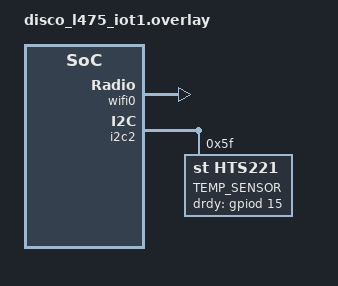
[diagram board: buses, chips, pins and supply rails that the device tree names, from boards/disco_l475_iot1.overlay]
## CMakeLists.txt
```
cmake_minimum_required(VERSION 3.20.0)
find_package(Zephyr REQUIRED HINTS $ENV{ZEPHYR_BASE})
project(sensor_mqtt)
target_sources(app PRIVATE src/main.c)
```

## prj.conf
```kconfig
# --- Networking & Wi-Fi ---
CONFIG_NETWORKING=y
CONFIG_WIFI=y
CONFIG_WIFI_ESWIFI=y               # ISM43362 driver for Disco L475 
CONFIG_NET_L2_WIFI_MGMT=y
CONFIG_NET_IPV4=y
CONFIG_NET_CONFIG_SETTINGS=y
CONFIG_POSIX_API=y
CONFIG_NET_LOG=y
CONFIG_WIFI_ESWIFI_THREAD_PRIO=7
CONFIG_NET_SOCKETS_POLL_MAX=1
CONFIG_NET_TCP_RECV_QUEUE_TIMEOUT=100

CONFIG_NET_SOCKETS=y
CONFIG_NET_TCP=y
CONFIG_NET_CONTEXT_SYNC_RECV=y


# --- Utilities ---
CONFIG_NEWLIB_LIBC=y
CONFIG_LOG=y
CONFIG_PRINTK=y
CONFIG_THREAD_MONITOR=y

# eswifi specific configs
CONFIG_WIFI_ESWIFI_BUS_SPI=y
CONFIG_NET_TX_STACK_SIZE=2048
CONFIG_NET_RX_STACK_SIZE=2048
CONFIG_WIFI_ESWIFI_THREAD_PRIO=5
CONFIG_MAIN_STACK_SIZE=4096
CONFIG_SYSTEM_WORKQUEUE_STACK_SIZE=4096

# Network buffers
CONFIG_NET_PKT_RX_COUNT=20
CONFIG_NET_PKT_TX_COUNT=10
CONFIG_NET_BUF_RX_COUNT=40
CONFIG_NET_BUF_TX_COUNT=20
CONFIG_NET_MGMT_EVENT_STACK_SIZE=1024
CONFIG_NET_SOCKETS_CONNECT_TIMEOUT=30000
CONFIG_NET_TCP_TIME_WAIT_DELAY=3000

CONFIG_JSON_LIBRARY=y
```

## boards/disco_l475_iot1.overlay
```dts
&wifi0 {
    status = "okay";
};


&i2c2 {
    hts221: hts221@5f {
        compatible = "st,hts221";
        reg = <0x5f>;
        drdy-gpios = <&gpiod 15 GPIO_ACTIVE_HIGH>;
        status = "okay";
        label = "TEMP_SENSOR";
    };
};

/ {
    aliases {
        temp = &hts221;
        humid = &hts221;
    };
};
```

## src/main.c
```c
#include <zephyr/kernel.h>
#include <zephyr/net/mqtt.h>
#include <zephyr/net/socket.h>
#include <zephyr/drivers/sensor.h>
#include <zephyr/net/wifi_mgmt.h>
#include <zephyr/net/net_mgmt.h>
#include <zephyr/net/net_if.h>
#include <zephyr/random/random.h>
#include <zephyr/logging/log.h>
#include <zephyr/posix/sys/socket.h>
#include <string.h>
#include <stdio.h>
#include <errno.h>
LOG_MODULE_REGISTER(main, LOG_LEVEL_INF);

/* ====== EDIT THESE BEFORE BUILD ====== */
#define WIFI_SSID   "ss Wireless"
#define WIFI_PASS   "Vivian1123"
#define BROKER_ADDR "192.168.0.253"
#define BROKER_PORT 1883
/* ==================================== */

static struct mqtt_client client;
static uint8_t rx_buf[2048], tx_buf[2048];
static struct sockaddr_storage broker;

static struct k_sem wifi_scan_done;
static struct k_sem wifi_connect_done;

// MQTT connection status
static bool connected = false;
static int64_t connection_time = 0;

// MQTT event callback handler
static void mqtt_evt_handler(struct mqtt_client *client, const struct mqtt_evt *evt)
{
    switch (evt->type) {
    case MQTT_EVT_CONNACK:
        if (evt->result != 0) {
            LOG_ERR("MQTT connect failed %d", evt->result);
            break;
        }
        connected = true;
        connection_time = k_uptime_get();  // Record connection time
        LOG_INF("MQTT client connected!");
        LOG_INF("Socket fd: %d", client->transport.tcp.sock);
        break;
        
    case MQTT_EVT_DISCONNECT:
        LOG_INF("MQTT client disconnected %d", evt->result);
        LOG_INF("Disconnect - Socket fd: %d", client->transport.tcp.sock);
        connected = false;
        break;
        
    case MQTT_EVT_PUBACK:
        if (evt->result != 0) {
            LOG_ERR("MQTT PUBACK error %d", evt->result);
            break;
        }
        LOG_INF("PUBACK packet id: %u", evt->param.puback.message_id);
        break;
        
    default:
        LOG_DBG("MQTT event type %d", evt->type);
        break;
    }
}

static void net_mgmt_event_handler(struct net_mgmt_event_callback *cb,
                                   uint32_t mgmt_event, struct net_if *iface)
{
    if (mgmt_event == NET_EVENT_WIFI_SCAN_RESULT) {
        const struct wifi_scan_result *scan_result = (const struct wifi_scan_result *)cb->info;
        if (scan_result && scan_result->ssid_length > 0) {
            LOG_INF("Found SSID: %.*s, Strength: %d dBm, Security: %s (%d), Channel: %d",
                    scan_result->ssid_length, scan_result->ssid,
                    scan_result->rssi,
                    scan_result->security == WIFI_SECURITY_TYPE_PSK ? "WPA/WPA2" :
                    scan_result->security == WIFI_SECURITY_TYPE_NONE ? "Open" :
                    "Other", scan_result->security, scan_result->channel);
        }
    } else if (mgmt_event == NET_EVENT_WIFI_SCAN_DONE) {
        LOG_INF("WiFi scan completed!");
        k_sem_give(&wifi_scan_done);
    } else if (mgmt_event == NET_EVENT_WIFI_CONNECT_RESULT) {
        const struct wifi_status *status = (const struct wifi_status *)cb->info;
        if (status && status->status == 0) {
            LOG_INF("WiFi connected (status OK)");
        } else {
            LOG_ERR("WiFi connection failed (status %d)", status ? status->status : -1);
        }
        k_sem_give(&wifi_connect_done);
    } else if (mgmt_event == NET_EVENT_WIFI_DISCONNECT_RESULT) {
        LOG_INF("WiFi disconnected");
    }
}

static struct net_mgmt_event_callback net_cb;

static int wifi_scan(void)
{
    struct net_if *iface = net_if_get_default();
    
    if (!iface) {
        LOG_ERR("No network interface found");
        return -ENODEV;
    }

    k_sem_init(&wifi_scan_done, 0, 1);

    net_mgmt_init_event_callback(&net_cb, net_mgmt_event_handler,
                                 NET_EVENT_WIFI_SCAN_RESULT |
                                 NET_EVENT_WIFI_SCAN_DONE |
                                 NET_EVENT_WIFI_CONNECT_RESULT |
                                 NET_EVENT_WIFI_DISCONNECT_RESULT);
    net_mgmt_add_event_callback(&net_cb);

    LOG_INF("Starting WiFi scan...");
    int rc = net_mgmt(NET_REQUEST_WIFI_SCAN, iface, NULL, 0);
    if (rc) {
        LOG_ERR("Wi-Fi scan request failed (%d)", rc);
        return rc;
    }

    if (k_sem_take(&wifi_scan_done, K_SECONDS(30)) != 0) {
        LOG_ERR("WiFi scan timeout");
        return -ETIMEDOUT;
    }

    LOG_INF("WiFi scan finished.");
    return 0;
}

static int wifi_connect(void)
{
    struct net_if *iface = net_if_get_default();
    if (!iface) {
        LOG_ERR("No network interface found");
        return -ENODEV;
    }

    struct wifi_connect_req_params params = {
        .ssid = WIFI_SSID,
        .ssid_length = strlen(WIFI_SSID),
        .psk = WIFI_PASS,
        .psk_length = strlen(WIFI_PASS),
        .security = WIFI_SECURITY_TYPE_PSK,
        .channel = WIFI_CHANNEL_ANY,
    };

    k_sem_init(&wifi_connect_done, 0, 1);
    LOG_INF("Connecting to WiFi SSID: %s", WIFI_SSID);
    int rc = net_mgmt(NET_REQUEST_WIFI_CONNECT, iface, &params, sizeof(params));
    if (rc) {
        LOG_ERR("WiFi connect request failed (%d)", rc);
        return rc;
    }

    if (k_sem_take(&wifi_connect_done, K_SECONDS(30)) != 0) {
        LOG_ERR("WiFi connect timeout");
        return -ETIMEDOUT;
    }

    LOG_INF("WiFi connection established");
    return 0;
}

// Simplified MQTT setup without polling
static int mqtt_setup(void)
{
    mqtt_client_init(&client);
    
    struct sockaddr_in *broker4 = (struct sockaddr_in *)&broker;
    broker4->sin_family = AF_INET;
    broker4->sin_port = htons(BROKER_PORT);
    inet_pton(AF_INET, BROKER_ADDR, &broker4->sin_addr);

    static char client_id[32] = "disco_test_fixed";

    client.broker = &broker;
    client.evt_cb = mqtt_evt_handler;
    client.client_id.utf8 = client_id;
    client.client_id.size = strlen(client_id);
    client.protocol_version = MQTT_VERSION_3_1_1;
    client.keepalive = 120;  // Increase from 60 to 120 seconds
    client.clean_session = 1;
    client.transport.type = MQTT_TRANSPORT_NON_SECURE;
    client.rx_buf = rx_buf;
    client.rx_buf_size = sizeof(rx_buf);
    client.tx_buf = tx_buf;
    client.tx_buf_size = sizeof(tx_buf);

    LOG_INF("Connecting to MQTT broker %s:%d", BROKER_ADDR, BROKER_PORT);
    
    int rc = mqtt_connect(&client);
    if (rc != 0) {
        LOG_ERR("mqtt_connect failed: %d", rc);
        return rc;
    }

    // Add delay to let TCP connection stabilize
    k_sleep(K_MSEC(500));

    // Simple wait for connection
    for (int i = 0; i < 50; i++) {
        k_sleep(K_MSEC(200));  // Slower polling
        
        if (!connected) {  // Only call mqtt_input if not yet connected
            mqtt_input(&client);
        }
        
        if (connected) {
            LOG_INF("MQTT connected successfully");
            k_sleep(K_SECONDS(2));  // Longer stabilization
            return 0;
        }
    }
    
    LOG_ERR("MQTT connection timeout");
    return -1;
}

// Simple publish function
static int publish_temp(float temperature)
{
    if (!connected) {
        LOG_ERR("MQTT not connected, skipping publish");
        return -1;
    }

    char payload[32];
    snprintf(payload, sizeof(payload), "%.2f", temperature);

    struct mqtt_publish_param param = {
        .message.topic.topic.utf8 = "sensor/disco/temp",
        .message.topic.topic.size = strlen("sensor/disco/temp"),
        .message.topic.qos = MQTT_QOS_0_AT_MOST_ONCE,
        .message.payload.data = payload,
        .message.payload.len = strlen(payload),
        .message_id = sys_rand16_get(),
        .dup_flag = 0,
        .retain_flag = 0
    };

    int result = mqtt_publish(&client, &param);
    if (result != 0) {
        LOG_ERR("mqtt_publish failed: %d", result);
        if (result == -ENOTCONN) {
            connected = false;
        }
    }
    return result;
}

int main(void)
{
    const struct device *dev = DEVICE_DT_GET_ONE(st_hts221);
    struct sensor_value temp;

    if (!device_is_ready(dev)) {
        LOG_ERR("Sensor not ready");
        return -1;
    }

    LOG_INF("Starting WiFi initialization for scanning...");
    int wifi_scan_result = wifi_scan();
    if (wifi_scan_result != 0) {
        LOG_ERR("WiFi scan failed.");
    }

    LOG_INF("Starting WiFi connection...");
    int wifi_connect_result = wifi_connect();
    if (wifi_connect_result != 0) {
        LOG_ERR("WiFi connection failed.");
        return -1;
    }

    LOG_INF("Checking for IP address assignment...");
    struct net_if *iface = net_if_get_default();
    bool ip_assigned = false;
    
    for (int i = 0; i < 30; i++) {
        if (iface) {
            struct in_addr *addr = net_if_ipv4_get_global_addr(iface, NET_ADDR_PREFERRED);
            if (addr) {
                char addr_str[NET_IPV4_ADDR_LEN];
                net_addr_ntop(AF_INET, addr, addr_str, sizeof(addr_str));
                LOG_INF("IP address assigned: %s", addr_str);
                ip_assigned = true;
                break;
            }
        }
        
        LOG_DBG("Waiting for IP address... attempt %d/30", i + 1);
        k_sleep(K_SECONDS(1));
    }
    
    if (!ip_assigned) {
        LOG_ERR("No IP address assigned after 30 seconds");
        return -1;
    }

    LOG_INF("Network ready, allowing stack to stabilize...");
    k_sleep(K_SECONDS(2));

    LOG_INF("WiFi connected, setting up MQTT...");
    int mqtt_result = mqtt_setup();
    if (mqtt_result != 0) {
        LOG_ERR("MQTT setup failed, running in sensor-only mode");
        while (1) {
            sensor_sample_fetch(dev);
            sensor_channel_get(dev, SENSOR_CHAN_AMBIENT_TEMP, &temp);
            LOG_INF("Temperature: %d.%06d°C (No MQTT)", temp.val1, temp.val2);
            k_sleep(K_SECONDS(10));
        }
    }

    LOG_INF("MQTT connected, starting data publishing...");
    
    // Let connection stabilize before aggressive polling
    k_sleep(K_SECONDS(1));

    // Initialize sensor reading timestamp
    int64_t last_sensor_read = 0;
    const int64_t sensor_interval = 5000; // 5 seconds

    while (1) {
        // MQTT maintenance - but limit frequency to reduce eswifi stress
        if (connected) {
            static int64_t last_mqtt_process = 0;
            int64_t now = k_uptime_get();
            
            // Only process MQTT every 500ms to avoid eswifi race conditions
            if (now - last_mqtt_process >= 2000) {
                int rc = mqtt_input(&client);
                if (rc < 0 && rc != -EAGAIN) {
                    LOG_ERR("mqtt_input failed: %d", rc);
                    connected = false;
                }
                
                // Check keepalive
                int keepalive_time = mqtt_keepalive_time_left(&client);
                if (keepalive_time > 0 && keepalive_time < 10000) {
                    rc = mqtt_live(&client);
                    if (rc < 0 && rc != -EAGAIN) {
                        LOG_ERR("mqtt_live failed: %d", rc);
                        connected = false;
                    }
                }
                last_mqtt_process = now;
            }
        }
        
        // Sensor operations
        int64_t now = k_uptime_get();
        
        // Only publish if connected for at least 5 seconds AND sensor interval elapsed
        bool can_publish = connected && 
                          (now - connection_time >= 5000) && 
                          (now - last_sensor_read >= sensor_interval);
        
        if (can_publish) {
            // Try sensor read with timeout protection
            int rc = sensor_sample_fetch(dev);
            if (rc == 0) {
                rc = sensor_channel_get(dev, SENSOR_CHAN_AMBIENT_TEMP, &temp);
                if (rc == 0) {
                    float temperature = temp.val1 + (temp.val2 / 1000000.0);
                    
                    int result = publish_temp(temperature);
                    if (result == 0) {
                        LOG_INF("Published: %.2f°C", temperature);
                    } else {
                        LOG_ERR("Publish failed: %d", result);
                    }
                } else {
                    LOG_ERR("Sensor read failed: %d", rc);
                }
            } else {
                LOG_ERR("Sensor fetch failed: %d", rc);
            }
            last_sensor_read = now;
        } else if (!connected) {
            LOG_WRN("MQTT disconnected, waiting for reconnection");
        }
        
        // Small sleep to prevent CPU spinning
        k_sleep(K_MSEC(500));
    }
    return 0;
}
```
